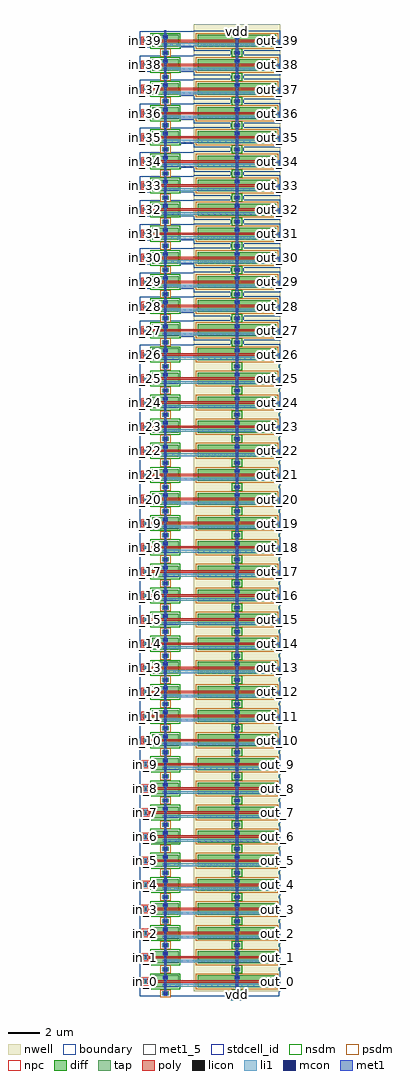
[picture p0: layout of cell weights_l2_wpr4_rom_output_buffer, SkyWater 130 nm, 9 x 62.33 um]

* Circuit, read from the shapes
.subckt weights_l2_wpr4_rom_output_buffer gnd in_0 in_1 in_10 in_11 in_12 in_13 in_14 in_15 in_16 in_17 in_18 in_19 in_2 in_20 in_21 in_22 in_23 in_24 in_25 in_26 in_27 in_28 in_29 in_3 in_30 in_31 in_32 in_33 in_34 in_35 in_36 in_37 in_38 in_39 in_4 in_5 in_6 in_7 in_8 in_9 out_0 out_1 out_10 out_11 out_12 out_13 out_14 out_15 out_16 out_17 out_18 out_19 out_2 out_20 out_21 out_22 out_23 out_24 out_25 out_26 out_27 out_28 out_29 out_3 out_30 out_31 out_32 out_33 out_34 out_35 out_36 out_37 out_38 out_39 out_4 out_5 out_6 out_7 out_8 out_9 vdd
XM1 gnd in_0 out_0 gnd sky130_fd_pr__nfet_01v8 w=1.68 l=0.15
XM2 gnd in_1 out_1 gnd sky130_fd_pr__nfet_01v8 w=1.68 l=0.15
XM3 gnd in_2 out_2 gnd sky130_fd_pr__nfet_01v8 w=1.68 l=0.15
XM4 gnd in_3 out_3 gnd sky130_fd_pr__nfet_01v8 w=1.68 l=0.15
XM5 gnd in_4 out_4 gnd sky130_fd_pr__nfet_01v8 w=1.68 l=0.15
XM6 gnd in_5 out_5 gnd sky130_fd_pr__nfet_01v8 w=1.68 l=0.15
XM7 gnd in_6 out_6 gnd sky130_fd_pr__nfet_01v8 w=1.68 l=0.15
XM8 gnd in_7 out_7 gnd sky130_fd_pr__nfet_01v8 w=1.68 l=0.15
XM9 gnd in_8 out_8 gnd sky130_fd_pr__nfet_01v8 w=1.68 l=0.15
XM10 gnd in_9 out_9 gnd sky130_fd_pr__nfet_01v8 w=1.68 l=0.15
XM11 gnd in_10 out_10 gnd sky130_fd_pr__nfet_01v8 w=1.68 l=0.15
XM12 gnd in_11 out_11 gnd sky130_fd_pr__nfet_01v8 w=1.68 l=0.15
XM13 gnd in_12 out_12 gnd sky130_fd_pr__nfet_01v8 w=1.68 l=0.15
XM14 gnd in_13 out_13 gnd sky130_fd_pr__nfet_01v8 w=1.68 l=0.15
XM15 gnd in_14 out_14 gnd sky130_fd_pr__nfet_01v8 w=1.68 l=0.15
XM16 gnd in_15 out_15 gnd sky130_fd_pr__nfet_01v8 w=1.68 l=0.15
XM17 gnd in_16 out_16 gnd sky130_fd_pr__nfet_01v8 w=1.68 l=0.15
XM18 gnd in_17 out_17 gnd sky130_fd_pr__nfet_01v8 w=1.68 l=0.15
XM19 gnd in_18 out_18 gnd sky130_fd_pr__nfet_01v8 w=1.68 l=0.15
XM20 gnd in_19 out_19 gnd sky130_fd_pr__nfet_01v8 w=1.68 l=0.15
XM21 gnd in_20 out_20 gnd sky130_fd_pr__nfet_01v8 w=1.68 l=0.15
XM22 gnd in_21 out_21 gnd sky130_fd_pr__nfet_01v8 w=1.68 l=0.15
XM23 gnd in_22 out_22 gnd sky130_fd_pr__nfet_01v8 w=1.68 l=0.15
XM24 gnd in_23 out_23 gnd sky130_fd_pr__nfet_01v8 w=1.68 l=0.15
XM25 gnd in_24 out_24 gnd sky130_fd_pr__nfet_01v8 w=1.68 l=0.15
XM26 gnd in_25 out_25 gnd sky130_fd_pr__nfet_01v8 w=1.68 l=0.15
XM27 gnd in_26 out_26 gnd sky130_fd_pr__nfet_01v8 w=1.68 l=0.15
XM28 gnd in_27 out_27 gnd sky130_fd_pr__nfet_01v8 w=1.68 l=0.15
XM29 gnd in_28 out_28 gnd sky130_fd_pr__nfet_01v8 w=1.68 l=0.15
XM30 gnd in_29 out_29 gnd sky130_fd_pr__nfet_01v8 w=1.68 l=0.15
XM31 gnd in_30 out_30 gnd sky130_fd_pr__nfet_01v8 w=1.68 l=0.15
XM32 gnd in_31 out_31 gnd sky130_fd_pr__nfet_01v8 w=1.68 l=0.15
XM33 gnd in_32 out_32 gnd sky130_fd_pr__nfet_01v8 w=1.68 l=0.15
XM34 gnd in_33 out_33 gnd sky130_fd_pr__nfet_01v8 w=1.68 l=0.15
XM35 gnd in_34 out_34 gnd sky130_fd_pr__nfet_01v8 w=1.68 l=0.15
XM36 gnd in_35 out_35 gnd sky130_fd_pr__nfet_01v8 w=1.68 l=0.15
XM37 gnd in_36 out_36 gnd sky130_fd_pr__nfet_01v8 w=1.68 l=0.15
XM38 gnd in_37 out_37 gnd sky130_fd_pr__nfet_01v8 w=1.68 l=0.15
XM39 gnd in_38 out_38 gnd sky130_fd_pr__nfet_01v8 w=1.68 l=0.15
XM40 gnd in_39 out_39 gnd sky130_fd_pr__nfet_01v8 w=1.68 l=0.15
XM41 vdd in_0 out_0 vdd sky130_fd_pr__pfet_01v8 w=5 l=0.15
XM42 vdd in_1 out_1 vdd sky130_fd_pr__pfet_01v8 w=5 l=0.15
XM43 vdd in_2 out_2 vdd sky130_fd_pr__pfet_01v8 w=5 l=0.15
XM44 vdd in_3 out_3 vdd sky130_fd_pr__pfet_01v8 w=5 l=0.15
XM45 vdd in_4 out_4 vdd sky130_fd_pr__pfet_01v8 w=5 l=0.15
XM46 vdd in_5 out_5 vdd sky130_fd_pr__pfet_01v8 w=5 l=0.15
XM47 vdd in_6 out_6 vdd sky130_fd_pr__pfet_01v8 w=5 l=0.15
XM48 vdd in_7 out_7 vdd sky130_fd_pr__pfet_01v8 w=5 l=0.15
XM49 vdd in_8 out_8 vdd sky130_fd_pr__pfet_01v8 w=5 l=0.15
XM50 vdd in_9 out_9 vdd sky130_fd_pr__pfet_01v8 w=5 l=0.15
XM51 vdd in_10 out_10 vdd sky130_fd_pr__pfet_01v8 w=5 l=0.15
XM52 vdd in_11 out_11 vdd sky130_fd_pr__pfet_01v8 w=5 l=0.15
XM53 vdd in_12 out_12 vdd sky130_fd_pr__pfet_01v8 w=5 l=0.15
XM54 vdd in_13 out_13 vdd sky130_fd_pr__pfet_01v8 w=5 l=0.15
XM55 vdd in_14 out_14 vdd sky130_fd_pr__pfet_01v8 w=5 l=0.15
XM56 vdd in_15 out_15 vdd sky130_fd_pr__pfet_01v8 w=5 l=0.15
XM57 vdd in_16 out_16 vdd sky130_fd_pr__pfet_01v8 w=5 l=0.15
XM58 vdd in_17 out_17 vdd sky130_fd_pr__pfet_01v8 w=5 l=0.15
XM59 vdd in_18 out_18 vdd sky130_fd_pr__pfet_01v8 w=5 l=0.15
XM60 vdd in_19 out_19 vdd sky130_fd_pr__pfet_01v8 w=5 l=0.15
XM61 vdd in_20 out_20 vdd sky130_fd_pr__pfet_01v8 w=5 l=0.15
XM62 vdd in_21 out_21 vdd sky130_fd_pr__pfet_01v8 w=5 l=0.15
XM63 vdd in_22 out_22 vdd sky130_fd_pr__pfet_01v8 w=5 l=0.15
XM64 vdd in_23 out_23 vdd sky130_fd_pr__pfet_01v8 w=5 l=0.15
XM65 vdd in_24 out_24 vdd sky130_fd_pr__pfet_01v8 w=5 l=0.15
XM66 vdd in_25 out_25 vdd sky130_fd_pr__pfet_01v8 w=5 l=0.15
XM67 vdd in_26 out_26 vdd sky130_fd_pr__pfet_01v8 w=5 l=0.15
XM68 vdd in_27 out_27 vdd sky130_fd_pr__pfet_01v8 w=5 l=0.15
XM69 vdd in_28 out_28 vdd sky130_fd_pr__pfet_01v8 w=5 l=0.15
XM70 vdd in_29 out_29 vdd sky130_fd_pr__pfet_01v8 w=5 l=0.15
XM71 vdd in_30 out_30 vdd sky130_fd_pr__pfet_01v8 w=5 l=0.15
XM72 vdd in_31 out_31 vdd sky130_fd_pr__pfet_01v8 w=5 l=0.15
XM73 vdd in_32 out_32 vdd sky130_fd_pr__pfet_01v8 w=5 l=0.15
XM74 vdd in_33 out_33 vdd sky130_fd_pr__pfet_01v8 w=5 l=0.15
XM75 vdd in_34 out_34 vdd sky130_fd_pr__pfet_01v8 w=5 l=0.15
XM76 vdd in_35 out_35 vdd sky130_fd_pr__pfet_01v8 w=5 l=0.15
XM77 vdd in_36 out_36 vdd sky130_fd_pr__pfet_01v8 w=5 l=0.15
XM78 vdd in_37 out_37 vdd sky130_fd_pr__pfet_01v8 w=5 l=0.15
XM79 vdd in_38 out_38 vdd sky130_fd_pr__pfet_01v8 w=5 l=0.15
XM80 vdd in_39 out_39 vdd sky130_fd_pr__pfet_01v8 w=5 l=0.15
.ends

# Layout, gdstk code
from math import pi, radians
import gdstk
lib = gdstk.Library(unit=1e-6, precision=1e-09)
def R(c, l, rs):  # rectangles x0, y0, x1, y1
    for r in rs: c.add(gdstk.rectangle(r[:2], r[2:], *l))
def A(c, l, x, y, w, h, nx, ny, dx, dy):  # array of equal rectangles
    R(c, l, [(x+i*dx, y+j*dy, x+i*dx+w, y+j*dy+h) for i in range(nx) for j in range(ny)])
nwell = (64, 20)
diff = (65, 20)
tap = (65, 44)
poly = (66, 20)
licon = (66, 44)
li1 = (67, 20)
mcon = (67, 44)
met1_5 = (68, 5)
met1 = (68, 20)
stdcell_id = (81, 4)
nsdm = (93, 44)
psdm = (94, 20)
npc = (95, 20)
boundary = (235, 4)

weights_l2_wpr4_contact_ = lib.new_cell('weights_l2_wpr4_contact_10')
R(weights_l2_wpr4_contact_, nwell, [(-0.295,-0.255,0.545,0.585)])
R(weights_l2_wpr4_contact_, diff, [(0,0.02,0.25,0.31)])
R(weights_l2_wpr4_contact_, licon, [(0.04,0.08,0.21,0.25)])
R(weights_l2_wpr4_contact_, li1, [(0.04,0,0.21,0.33)])
R(weights_l2_wpr4_contact_, stdcell_id, [(-0.295,-0.255,0.545,0.585)])
R(weights_l2_wpr4_contact_, psdm, [(-0.125,-0.105,0.375,0.435)])
R(weights_l2_wpr4_contact_, boundary, [(-0.295,-0.255,0.545,0.585)])

weights_l2_wpr4_pmos_m1_ = lib.new_cell('weights_l2_wpr4_pmos_m1_w5_000_sli_dli_da_p')
R(weights_l2_wpr4_pmos_m1_, nwell, [(-0.27,-0.27,1.02,5.27)])
R(weights_l2_wpr4_pmos_m1_, diff, [(0,0,0.75,5)])
R(weights_l2_wpr4_pmos_m1_, poly, [(0.3,-0.13,0.45,5.13), (0.3,-0.13,0.45,5.13)])
R(weights_l2_wpr4_pmos_m1_, li1, [(0.04,2.335,0.21,2.665), (0.54,2.335,0.71,2.665)])
R(weights_l2_wpr4_pmos_m1_, stdcell_id, [(-0.27,-0.27,1.02,5.27)])
R(weights_l2_wpr4_pmos_m1_, psdm, [(-0.125,-0.125,0.875,5.125)])
R(weights_l2_wpr4_pmos_m1_, boundary, [(-0.27,-0.27,1.02,5.27)])
weights_l2_wpr4_pmos_m1_.add(gdstk.Reference(weights_l2_wpr4_contact_, (0,2.335)))
weights_l2_wpr4_pmos_m1_.add(gdstk.Reference(weights_l2_wpr4_contact_, (0.5,2.335)))
weights_l2_wpr4_pmos_m1_.add(gdstk.Label('G', (0.375,2.5), layer=66, texttype=5))
weights_l2_wpr4_pmos_m1_.add(gdstk.Label('S', (0.125,2.5), layer=67, texttype=5))
weights_l2_wpr4_pmos_m1_.add(gdstk.Label('D', (0.625,2.5), layer=67, texttype=5))

c_weights_l2_wpr4_contact_ = lib.new_cell('weights_l2_wpr4_contact_8')
R(c_weights_l2_wpr4_contact_, diff, [(0,0.02,0.25,0.31)])
R(c_weights_l2_wpr4_contact_, licon, [(0.04,0.08,0.21,0.25)])
R(c_weights_l2_wpr4_contact_, li1, [(0.04,0,0.21,0.33)])
R(c_weights_l2_wpr4_contact_, stdcell_id, [(-0.125,-0.105,0.375,0.435)])
R(c_weights_l2_wpr4_contact_, nsdm, [(-0.125,-0.105,0.375,0.435)])
R(c_weights_l2_wpr4_contact_, boundary, [(-0.125,-0.105,0.375,0.435)])

weights_l2_wpr4_nmos_m1_ = lib.new_cell('weights_l2_wpr4_nmos_m1_w1_680_sli_dli_da_p')
R(weights_l2_wpr4_nmos_m1_, diff, [(0,0,0.75,1.68)])
R(weights_l2_wpr4_nmos_m1_, poly, [(0.3,-0.13,0.45,1.81), (0.3,-0.13,0.45,1.81)])
R(weights_l2_wpr4_nmos_m1_, li1, [(0.04,0.675,0.21,1.005), (0.54,0.675,0.71,1.005)])
R(weights_l2_wpr4_nmos_m1_, stdcell_id, [(-0.125,-0.13,0.875,1.81)])
R(weights_l2_wpr4_nmos_m1_, nsdm, [(-0.125,-0.125,0.875,1.805)])
R(weights_l2_wpr4_nmos_m1_, boundary, [(-0.125,-0.13,0.875,1.81)])
weights_l2_wpr4_nmos_m1_.add(gdstk.Reference(c_weights_l2_wpr4_contact_, (0,0.675)))
weights_l2_wpr4_nmos_m1_.add(gdstk.Reference(c_weights_l2_wpr4_contact_, (0.5,0.675)))
weights_l2_wpr4_nmos_m1_.add(gdstk.Label('G', (0.375,0.84), layer=66, texttype=5))
weights_l2_wpr4_nmos_m1_.add(gdstk.Label('S', (0.125,0.84), layer=67, texttype=5))
weights_l2_wpr4_nmos_m1_.add(gdstk.Label('D', (0.625,0.84), layer=67, texttype=5))

c_weights_l2_wpr4_contact__ = lib.new_cell('weights_l2_wpr4_contact_11')
R(c_weights_l2_wpr4_contact__, poly, [(0,0,0.33,0.33)])
R(c_weights_l2_wpr4_contact__, licon, [(0.08,0.08,0.25,0.25)])
R(c_weights_l2_wpr4_contact__, li1, [(0.08,0,0.25,0.33)])
R(c_weights_l2_wpr4_contact__, stdcell_id, [(-0.1,-0.1,0.43,0.43)])
R(c_weights_l2_wpr4_contact__, npc, [(-0.1,-0.1,0.43,0.43)])
R(c_weights_l2_wpr4_contact__, boundary, [(-0.1,-0.1,0.43,0.43)])

c_weights_l2_wpr4_contact___ = lib.new_cell('weights_l2_wpr4_contact_12')
R(c_weights_l2_wpr4_contact___, li1, [(0.06,0,0.23,0.33)])
R(c_weights_l2_wpr4_contact___, mcon, [(0.06,0.08,0.23,0.25)])
R(c_weights_l2_wpr4_contact___, met1, [(0,0.05,0.29,0.28)])
R(c_weights_l2_wpr4_contact___, stdcell_id, [(0,0,0.29,0.33)])
R(c_weights_l2_wpr4_contact___, boundary, [(0,0,0.29,0.33)])

weights_l2_wpr4_pinv_dec = lib.new_cell('weights_l2_wpr4_pinv_dec_4')
R(weights_l2_wpr4_pinv_dec, nwell, [(3.46,0,9,1.495)])
R(weights_l2_wpr4_pinv_dec, poly, [(0.385,0.345,0.68,0.495), (2.62,0.345,3.6,0.495)])
R(weights_l2_wpr4_pinv_dec, li1, [(1.485,0.085,8.91,0.255), (0.3,0.255,0.47,0.585)])
R(weights_l2_wpr4_pinv_dec, met1_5, [(1.58,0,1.72,1.02), (6.16,0,6.3,1.02)])
R(weights_l2_wpr4_pinv_dec, met1, [(1.58,0,1.72,1.02), (6.16,0,6.3,1.02)])
R(weights_l2_wpr4_pinv_dec, stdcell_id, [(0,0,8.91,1.02), (0,0,8.91,1.02)])
R(weights_l2_wpr4_pinv_dec, nsdm, [(0.685,0,2.615,0.795)])
R(weights_l2_wpr4_pinv_dec, psdm, [(3.605,0,8.855,0.795)])
R(weights_l2_wpr4_pinv_dec, boundary, [(0,0,8.91,1.02), (0,0,8.91,1.02)])
weights_l2_wpr4_pinv_dec.add(gdstk.Reference(weights_l2_wpr4_pmos_m1_, (3.73,0.795), rotation=3*pi/2))
weights_l2_wpr4_pinv_dec.add(gdstk.Reference(weights_l2_wpr4_nmos_m1_, (0.81,0.795), rotation=3*pi/2))
weights_l2_wpr4_pinv_dec.add(gdstk.Reference(c_weights_l2_wpr4_contact__, (0.22,0.255)))
weights_l2_wpr4_pinv_dec.add(gdstk.Reference(c_weights_l2_wpr4_contact___, (1.505,0.505)))
weights_l2_wpr4_pinv_dec.add(gdstk.Reference(c_weights_l2_wpr4_contact___, (6.085,0.505)))
weights_l2_wpr4_pinv_dec.add(gdstk.Label('A', (0.385,0.42), layer=67, texttype=5))
weights_l2_wpr4_pinv_dec.add(gdstk.Label('Z', (5.198,0.17), layer=67, texttype=5))
weights_l2_wpr4_pinv_dec.add(gdstk.Label('gnd', (1.65,0.51), layer=68, texttype=5))
weights_l2_wpr4_pinv_dec.add(gdstk.Label('vdd', (6.23,0.51), layer=68, texttype=5))

c_weights_l2_wpr4_contact____ = lib.new_cell('weights_l2_wpr4_contact_15')
R(c_weights_l2_wpr4_contact____, nwell, [(-0.215,-0.295,0.625,0.545)])
R(c_weights_l2_wpr4_contact____, tap, [(0,0,0.41,0.25)])
R(c_weights_l2_wpr4_contact____, licon, [(0.12,0.04,0.29,0.21)])
R(c_weights_l2_wpr4_contact____, li1, [(0.04,0.04,0.37,0.21)])
R(c_weights_l2_wpr4_contact____, stdcell_id, [(-0.215,-0.295,0.625,0.545)])
R(c_weights_l2_wpr4_contact____, nsdm, [(-0.125,-0.125,0.535,0.375)])
R(c_weights_l2_wpr4_contact____, boundary, [(-0.215,-0.295,0.625,0.545)])

c_weights_l2_wpr4_contact_____ = lib.new_cell('weights_l2_wpr4_contact_17')
R(c_weights_l2_wpr4_contact_____, li1, [(0,0.06,0.33,0.23)])
R(c_weights_l2_wpr4_contact_____, mcon, [(0.08,0.06,0.25,0.23)])
R(c_weights_l2_wpr4_contact_____, met1, [(0.05,0,0.28,0.29)])
R(c_weights_l2_wpr4_contact_____, stdcell_id, [(0,0,0.33,0.29)])
R(c_weights_l2_wpr4_contact_____, boundary, [(0,0,0.33,0.29)])

c_weights_l2_wpr4_contact______ = lib.new_cell('weights_l2_wpr4_contact_16')
R(c_weights_l2_wpr4_contact______, tap, [(0,0,0.41,0.25)])
R(c_weights_l2_wpr4_contact______, licon, [(0.12,0.04,0.29,0.21)])
R(c_weights_l2_wpr4_contact______, li1, [(0.04,0.04,0.37,0.21)])
R(c_weights_l2_wpr4_contact______, stdcell_id, [(-0.125,-0.125,0.535,0.375)])
R(c_weights_l2_wpr4_contact______, psdm, [(-0.125,-0.125,0.535,0.375)])
R(c_weights_l2_wpr4_contact______, boundary, [(-0.125,-0.125,0.535,0.375)])

weights_l2_wpr4_rom_outp = lib.new_cell('weights_l2_wpr4_rom_output_buffer')
A(weights_l2_wpr4_rom_outp, li1, 8.74, 0.69, 0.17, 0.335, 1, 40, 0, 1.54)
A(weights_l2_wpr4_rom_outp, li1, 0.3, 0.775, 0.17, 0.33, 1, 40, 0, 1.54)
A(weights_l2_wpr4_rom_outp, li1, 8.74, 0.855, 0.17, 0.17, 1, 40, 0, 1.54)
R(weights_l2_wpr4_rom_outp, met1_5, [(1.58,0.03,1.72,0.17), (6.16,0.03,6.3,0.17), (1.58,61.53,1.72,61.67), (6.16,61.53,6.3,61.67)])
R(weights_l2_wpr4_rom_outp, met1, [(1.58,0.03,1.72,0.17), (1.58,0.03,1.72,61.67), (6.16,0.03,6.3,0.17), (6.16,0.03,6.3,61.67), (1.58,0.1,1.72,0.24), (6.16,0.1,6.3,0.24), (1.58,0.96,1.72,1.1), (6.16,0.96,6.3,1.1), (1.58,1.64,1.72,1.78), (6.16,1.64,6.3,1.78), (1.58,2.5,1.72,2.64), (6.16,2.5,6.3,2.64), (1.58,3.18,1.72,3.32), (6.16,3.18,6.3,3.32), (1.58,4.04,1.72,4.18), (6.16,4.04,6.3,4.18), (1.58,4.72,1.72,4.86), (6.16,4.72,6.3,4.86), (1.58,5.58,1.72,5.72), (6.16,5.58,6.3,5.72), (1.58,6.26,1.72,6.4), (6.16,6.26,6.3,6.4), (1.58,7.12,1.72,7.26), (6.16,7.12,6.3,7.26), (1.58,7.8,1.72,7.94), (6.16,7.8,6.3,7.94), (1.58,8.66,1.72,8.8), (6.16,8.66,6.3,8.8), (1.58,9.34,1.72,9.48), (6.16,9.34,6.3,9.48), (1.58,10.2,1.72,10.34), (6.16,10.2,6.3,10.34), (1.58,10.88,1.72,11.02), (6.16,10.88,6.3,11.02), (1.58,11.74,1.72,11.88), (6.16,11.74,6.3,11.88), (1.58,12.42,1.72,12.56), (6.16,12.42,6.3,12.56), (1.58,13.28,1.72,13.42), (6.16,13.28,6.3,13.42), (1.58,13.96,1.72,14.1), (6.16,13.96,6.3,14.1), (1.58,14.82,1.72,14.96), (6.16,14.82,6.3,14.96), (1.58,15.5,1.72,15.64), (6.16,15.5,6.3,15.64), (1.58,16.36,1.72,16.5), (6.16,16.36,6.3,16.5), (1.58,17.04,1.72,17.18), (6.16,17.04,6.3,17.18), (1.58,17.9,1.72,18.04), (6.16,17.9,6.3,18.04), (1.58,18.58,1.72,18.72), (6.16,18.58,6.3,18.72), (1.58,19.44,1.72,19.58), (6.16,19.44,6.3,19.58), (1.58,20.12,1.72,20.26), (6.16,20.12,6.3,20.26), (1.58,20.98,1.72,21.12), (6.16,20.98,6.3,21.12), (1.58,21.66,1.72,21.8), (6.16,21.66,6.3,21.8), (1.58,22.52,1.72,22.66), (6.16,22.52,6.3,22.66), (1.58,23.2,1.72,23.34), (6.16,23.2,6.3,23.34), (1.58,24.06,1.72,24.2), (6.16,24.06,6.3,24.2), (1.58,24.74,1.72,24.88), (6.16,24.74,6.3,24.88), (1.58,25.6,1.72,25.74), (6.16,25.6,6.3,25.74), (1.58,26.28,1.72,26.42), (6.16,26.28,6.3,26.42), (1.58,27.14,1.72,27.28), (6.16,27.14,6.3,27.28), (1.58,27.82,1.72,27.96), (6.16,27.82,6.3,27.96), (1.58,28.68,1.72,28.82), (6.16,28.68,6.3,28.82), (1.58,29.36,1.72,29.5), (6.16,29.36,6.3,29.5), (1.58,30.22,1.72,30.36), (6.16,30.22,6.3,30.36), (1.58,30.9,1.72,31.04), (6.16,30.9,6.3,31.04), (1.58,31.76,1.72,31.9), (6.16,31.76,6.3,31.9), (1.58,32.44,1.72,32.58), (6.16,32.44,6.3,32.58), (1.58,33.3,1.72,33.44), (6.16,33.3,6.3,33.44), (1.58,33.98,1.72,34.12), (6.16,33.98,6.3,34.12), (1.58,34.84,1.72,34.98), (6.16,34.84,6.3,34.98), (1.58,35.52,1.72,35.66), (6.16,35.52,6.3,35.66), (1.58,36.38,1.72,36.52), (6.16,36.38,6.3,36.52), (1.58,37.06,1.72,37.2), (6.16,37.06,6.3,37.2), (1.58,37.92,1.72,38.06), (6.16,37.92,6.3,38.06), (1.58,38.6,1.72,38.74), (6.16,38.6,6.3,38.74), (1.58,39.46,1.72,39.6), (6.16,39.46,6.3,39.6), (1.58,40.14,1.72,40.28), (6.16,40.14,6.3,40.28), (1.58,41,1.72,41.14), (6.16,41,6.3,41.14), (1.58,41.68,1.72,41.82), (6.16,41.68,6.3,41.82), (1.58,42.54,1.72,42.68), (6.16,42.54,6.3,42.68), (1.58,43.22,1.72,43.36), (6.16,43.22,6.3,43.36), (1.58,44.08,1.72,44.22), (6.16,44.08,6.3,44.22), (1.58,44.76,1.72,44.9), (6.16,44.76,6.3,44.9), (1.58,45.62,1.72,45.76), (6.16,45.62,6.3,45.76), (1.58,46.3,1.72,46.44), (6.16,46.3,6.3,46.44), (1.58,47.16,1.72,47.3), (6.16,47.16,6.3,47.3), (1.58,47.84,1.72,47.98), (6.16,47.84,6.3,47.98), (1.58,48.7,1.72,48.84), (6.16,48.7,6.3,48.84), (1.58,49.38,1.72,49.52), (6.16,49.38,6.3,49.52), (1.58,50.24,1.72,50.38), (6.16,50.24,6.3,50.38), (1.58,50.92,1.72,51.06), (6.16,50.92,6.3,51.06), (1.58,51.78,1.72,51.92), (6.16,51.78,6.3,51.92), (1.58,52.46,1.72,52.6), (6.16,52.46,6.3,52.6), (1.58,53.32,1.72,53.46), (6.16,53.32,6.3,53.46), (1.58,54,1.72,54.14), (6.16,54,6.3,54.14), (1.58,54.86,1.72,55), (6.16,54.86,6.3,55), (1.58,55.54,1.72,55.68), (6.16,55.54,6.3,55.68), (1.58,56.4,1.72,56.54), (6.16,56.4,6.3,56.54), (1.58,57.08,1.72,57.22), (6.16,57.08,6.3,57.22), (1.58,57.94,1.72,58.08), (6.16,57.94,6.3,58.08), (1.58,58.62,1.72,58.76), (6.16,58.62,6.3,58.76), (1.58,59.48,1.72,59.62), (6.16,59.48,6.3,59.62), (1.58,60.16,1.72,60.3), (6.16,60.16,6.3,60.3), (1.58,61.02,1.72,61.16), (6.16,61.02,6.3,61.16), (1.58,61.53,1.72,61.67), (6.16,61.53,6.3,61.67)])
R(weights_l2_wpr4_rom_outp, stdcell_id, [(0,0,8.91,40.8)])
R(weights_l2_wpr4_rom_outp, boundary, [(0,0,8.91,40.8)])
weights_l2_wpr4_rom_outp.add(gdstk.Reference(weights_l2_wpr4_pinv_dec, (0,0.52)))
weights_l2_wpr4_rom_outp.add(gdstk.Reference(weights_l2_wpr4_pinv_dec, (0,2.06)))
weights_l2_wpr4_rom_outp.add(gdstk.Reference(weights_l2_wpr4_pinv_dec, (0,3.6)))
weights_l2_wpr4_rom_outp.add(gdstk.Reference(weights_l2_wpr4_pinv_dec, (0,5.14)))
weights_l2_wpr4_rom_outp.add(gdstk.Reference(weights_l2_wpr4_pinv_dec, (0,6.68)))
weights_l2_wpr4_rom_outp.add(gdstk.Reference(weights_l2_wpr4_pinv_dec, (0,8.22)))
weights_l2_wpr4_rom_outp.add(gdstk.Reference(weights_l2_wpr4_pinv_dec, (0,9.76)))
weights_l2_wpr4_rom_outp.add(gdstk.Reference(weights_l2_wpr4_pinv_dec, (0,11.3)))
weights_l2_wpr4_rom_outp.add(gdstk.Reference(weights_l2_wpr4_pinv_dec, (0,12.84)))
weights_l2_wpr4_rom_outp.add(gdstk.Reference(weights_l2_wpr4_pinv_dec, (0,14.38)))
weights_l2_wpr4_rom_outp.add(gdstk.Reference(weights_l2_wpr4_pinv_dec, (0,15.92)))
weights_l2_wpr4_rom_outp.add(gdstk.Reference(weights_l2_wpr4_pinv_dec, (0,17.46)))
weights_l2_wpr4_rom_outp.add(gdstk.Reference(weights_l2_wpr4_pinv_dec, (0,19)))
weights_l2_wpr4_rom_outp.add(gdstk.Reference(weights_l2_wpr4_pinv_dec, (0,20.54)))
weights_l2_wpr4_rom_outp.add(gdstk.Reference(weights_l2_wpr4_pinv_dec, (0,22.08)))
weights_l2_wpr4_rom_outp.add(gdstk.Reference(weights_l2_wpr4_pinv_dec, (0,23.62)))
weights_l2_wpr4_rom_outp.add(gdstk.Reference(weights_l2_wpr4_pinv_dec, (0,25.16)))
weights_l2_wpr4_rom_outp.add(gdstk.Reference(weights_l2_wpr4_pinv_dec, (0,26.7)))
weights_l2_wpr4_rom_outp.add(gdstk.Reference(weights_l2_wpr4_pinv_dec, (0,28.24)))
weights_l2_wpr4_rom_outp.add(gdstk.Reference(weights_l2_wpr4_pinv_dec, (0,29.78)))
weights_l2_wpr4_rom_outp.add(gdstk.Reference(weights_l2_wpr4_pinv_dec, (0,31.32)))
weights_l2_wpr4_rom_outp.add(gdstk.Reference(weights_l2_wpr4_pinv_dec, (0,32.86)))
weights_l2_wpr4_rom_outp.add(gdstk.Reference(weights_l2_wpr4_pinv_dec, (0,34.4)))
weights_l2_wpr4_rom_outp.add(gdstk.Reference(weights_l2_wpr4_pinv_dec, (0,35.94)))
weights_l2_wpr4_rom_outp.add(gdstk.Reference(weights_l2_wpr4_pinv_dec, (0,37.48)))
weights_l2_wpr4_rom_outp.add(gdstk.Reference(weights_l2_wpr4_pinv_dec, (0,39.02)))
weights_l2_wpr4_rom_outp.add(gdstk.Reference(weights_l2_wpr4_pinv_dec, (0,40.56)))
weights_l2_wpr4_rom_outp.add(gdstk.Reference(weights_l2_wpr4_pinv_dec, (0,42.1)))
weights_l2_wpr4_rom_outp.add(gdstk.Reference(weights_l2_wpr4_pinv_dec, (0,43.64)))
weights_l2_wpr4_rom_outp.add(gdstk.Reference(weights_l2_wpr4_pinv_dec, (0,45.18)))
weights_l2_wpr4_rom_outp.add(gdstk.Reference(weights_l2_wpr4_pinv_dec, (0,46.72)))
weights_l2_wpr4_rom_outp.add(gdstk.Reference(weights_l2_wpr4_pinv_dec, (0,48.26)))
weights_l2_wpr4_rom_outp.add(gdstk.Reference(weights_l2_wpr4_pinv_dec, (0,49.8)))
weights_l2_wpr4_rom_outp.add(gdstk.Reference(weights_l2_wpr4_pinv_dec, (0,51.34)))
weights_l2_wpr4_rom_outp.add(gdstk.Reference(weights_l2_wpr4_pinv_dec, (0,52.88)))
weights_l2_wpr4_rom_outp.add(gdstk.Reference(weights_l2_wpr4_pinv_dec, (0,54.42)))
weights_l2_wpr4_rom_outp.add(gdstk.Reference(weights_l2_wpr4_pinv_dec, (0,55.96)))
weights_l2_wpr4_rom_outp.add(gdstk.Reference(weights_l2_wpr4_pinv_dec, (0,57.5)))
weights_l2_wpr4_rom_outp.add(gdstk.Reference(weights_l2_wpr4_pinv_dec, (0,59.04)))
weights_l2_wpr4_rom_outp.add(gdstk.Reference(weights_l2_wpr4_pinv_dec, (0,60.58)))
weights_l2_wpr4_rom_outp.add(gdstk.Reference(c_weights_l2_wpr4_contact____, (6.025,0.045)))
weights_l2_wpr4_rom_outp.add(gdstk.Reference(c_weights_l2_wpr4_contact_____, (6.065,0.025)))
weights_l2_wpr4_rom_outp.add(gdstk.Reference(c_weights_l2_wpr4_contact______, (1.445,0.045)))
weights_l2_wpr4_rom_outp.add(gdstk.Reference(c_weights_l2_wpr4_contact_____, (1.485,0.025)))
weights_l2_wpr4_rom_outp.add(gdstk.Reference(c_weights_l2_wpr4_contact____, (6.025,1.585)))
weights_l2_wpr4_rom_outp.add(gdstk.Reference(c_weights_l2_wpr4_contact_____, (6.065,1.565)))
weights_l2_wpr4_rom_outp.add(gdstk.Reference(c_weights_l2_wpr4_contact______, (1.445,1.585)))
weights_l2_wpr4_rom_outp.add(gdstk.Reference(c_weights_l2_wpr4_contact_____, (1.485,1.565)))
weights_l2_wpr4_rom_outp.add(gdstk.Reference(c_weights_l2_wpr4_contact____, (6.025,3.125)))
weights_l2_wpr4_rom_outp.add(gdstk.Reference(c_weights_l2_wpr4_contact_____, (6.065,3.105)))
weights_l2_wpr4_rom_outp.add(gdstk.Reference(c_weights_l2_wpr4_contact______, (1.445,3.125)))
weights_l2_wpr4_rom_outp.add(gdstk.Reference(c_weights_l2_wpr4_contact_____, (1.485,3.105)))
weights_l2_wpr4_rom_outp.add(gdstk.Reference(c_weights_l2_wpr4_contact____, (6.025,4.665)))
weights_l2_wpr4_rom_outp.add(gdstk.Reference(c_weights_l2_wpr4_contact_____, (6.065,4.645)))
weights_l2_wpr4_rom_outp.add(gdstk.Reference(c_weights_l2_wpr4_contact______, (1.445,4.665)))
weights_l2_wpr4_rom_outp.add(gdstk.Reference(c_weights_l2_wpr4_contact_____, (1.485,4.645)))
weights_l2_wpr4_rom_outp.add(gdstk.Reference(c_weights_l2_wpr4_contact____, (6.025,6.205)))
weights_l2_wpr4_rom_outp.add(gdstk.Reference(c_weights_l2_wpr4_contact_____, (6.065,6.185)))
weights_l2_wpr4_rom_outp.add(gdstk.Reference(c_weights_l2_wpr4_contact______, (1.445,6.205)))
weights_l2_wpr4_rom_outp.add(gdstk.Reference(c_weights_l2_wpr4_contact_____, (1.485,6.185)))
weights_l2_wpr4_rom_outp.add(gdstk.Reference(c_weights_l2_wpr4_contact____, (6.025,7.745)))
weights_l2_wpr4_rom_outp.add(gdstk.Reference(c_weights_l2_wpr4_contact_____, (6.065,7.725)))
weights_l2_wpr4_rom_outp.add(gdstk.Reference(c_weights_l2_wpr4_contact______, (1.445,7.745)))
weights_l2_wpr4_rom_outp.add(gdstk.Reference(c_weights_l2_wpr4_contact_____, (1.485,7.725)))
weights_l2_wpr4_rom_outp.add(gdstk.Reference(c_weights_l2_wpr4_contact____, (6.025,9.285)))
weights_l2_wpr4_rom_outp.add(gdstk.Reference(c_weights_l2_wpr4_contact_____, (6.065,9.265)))
weights_l2_wpr4_rom_outp.add(gdstk.Reference(c_weights_l2_wpr4_contact______, (1.445,9.285)))
weights_l2_wpr4_rom_outp.add(gdstk.Reference(c_weights_l2_wpr4_contact_____, (1.485,9.265)))
weights_l2_wpr4_rom_outp.add(gdstk.Reference(c_weights_l2_wpr4_contact____, (6.025,10.825)))
weights_l2_wpr4_rom_outp.add(gdstk.Reference(c_weights_l2_wpr4_contact_____, (6.065,10.805)))
weights_l2_wpr4_rom_outp.add(gdstk.Reference(c_weights_l2_wpr4_contact______, (1.445,10.825)))
weights_l2_wpr4_rom_outp.add(gdstk.Reference(c_weights_l2_wpr4_contact_____, (1.485,10.805)))
weights_l2_wpr4_rom_outp.add(gdstk.Reference(c_weights_l2_wpr4_contact____, (6.025,12.365)))
weights_l2_wpr4_rom_outp.add(gdstk.Reference(c_weights_l2_wpr4_contact_____, (6.065,12.345)))
weights_l2_wpr4_rom_outp.add(gdstk.Reference(c_weights_l2_wpr4_contact______, (1.445,12.365)))
weights_l2_wpr4_rom_outp.add(gdstk.Reference(c_weights_l2_wpr4_contact_____, (1.485,12.345)))
weights_l2_wpr4_rom_outp.add(gdstk.Reference(c_weights_l2_wpr4_contact____, (6.025,13.905)))
weights_l2_wpr4_rom_outp.add(gdstk.Reference(c_weights_l2_wpr4_contact_____, (6.065,13.885)))
weights_l2_wpr4_rom_outp.add(gdstk.Reference(c_weights_l2_wpr4_contact______, (1.445,13.905)))
weights_l2_wpr4_rom_outp.add(gdstk.Reference(c_weights_l2_wpr4_contact_____, (1.485,13.885)))
weights_l2_wpr4_rom_outp.add(gdstk.Reference(c_weights_l2_wpr4_contact____, (6.025,15.445)))
weights_l2_wpr4_rom_outp.add(gdstk.Reference(c_weights_l2_wpr4_contact_____, (6.065,15.425)))
weights_l2_wpr4_rom_outp.add(gdstk.Reference(c_weights_l2_wpr4_contact______, (1.445,15.445)))
weights_l2_wpr4_rom_outp.add(gdstk.Reference(c_weights_l2_wpr4_contact_____, (1.485,15.425)))
weights_l2_wpr4_rom_outp.add(gdstk.Reference(c_weights_l2_wpr4_contact____, (6.025,16.985)))
weights_l2_wpr4_rom_outp.add(gdstk.Reference(c_weights_l2_wpr4_contact_____, (6.065,16.965)))
weights_l2_wpr4_rom_outp.add(gdstk.Reference(c_weights_l2_wpr4_contact______, (1.445,16.985)))
weights_l2_wpr4_rom_outp.add(gdstk.Reference(c_weights_l2_wpr4_contact_____, (1.485,16.965)))
weights_l2_wpr4_rom_outp.add(gdstk.Reference(c_weights_l2_wpr4_contact____, (6.025,18.525)))
weights_l2_wpr4_rom_outp.add(gdstk.Reference(c_weights_l2_wpr4_contact_____, (6.065,18.505)))
weights_l2_wpr4_rom_outp.add(gdstk.Reference(c_weights_l2_wpr4_contact______, (1.445,18.525)))
weights_l2_wpr4_rom_outp.add(gdstk.Reference(c_weights_l2_wpr4_contact_____, (1.485,18.505)))
weights_l2_wpr4_rom_outp.add(gdstk.Reference(c_weights_l2_wpr4_contact____, (6.025,20.065)))
weights_l2_wpr4_rom_outp.add(gdstk.Reference(c_weights_l2_wpr4_contact_____, (6.065,20.045)))
weights_l2_wpr4_rom_outp.add(gdstk.Reference(c_weights_l2_wpr4_contact______, (1.445,20.065)))
weights_l2_wpr4_rom_outp.add(gdstk.Reference(c_weights_l2_wpr4_contact_____, (1.485,20.045)))
weights_l2_wpr4_rom_outp.add(gdstk.Reference(c_weights_l2_wpr4_contact____, (6.025,21.605)))
weights_l2_wpr4_rom_outp.add(gdstk.Reference(c_weights_l2_wpr4_contact_____, (6.065,21.585)))
weights_l2_wpr4_rom_outp.add(gdstk.Reference(c_weights_l2_wpr4_contact______, (1.445,21.605)))
weights_l2_wpr4_rom_outp.add(gdstk.Reference(c_weights_l2_wpr4_contact_____, (1.485,21.585)))
weights_l2_wpr4_rom_outp.add(gdstk.Reference(c_weights_l2_wpr4_contact____, (6.025,23.145)))
weights_l2_wpr4_rom_outp.add(gdstk.Reference(c_weights_l2_wpr4_contact_____, (6.065,23.125)))
weights_l2_wpr4_rom_outp.add(gdstk.Reference(c_weights_l2_wpr4_contact______, (1.445,23.145)))
weights_l2_wpr4_rom_outp.add(gdstk.Reference(c_weights_l2_wpr4_contact_____, (1.485,23.125)))
weights_l2_wpr4_rom_outp.add(gdstk.Reference(c_weights_l2_wpr4_contact____, (6.025,24.685)))
weights_l2_wpr4_rom_outp.add(gdstk.Reference(c_weights_l2_wpr4_contact_____, (6.065,24.665)))
weights_l2_wpr4_rom_outp.add(gdstk.Reference(c_weights_l2_wpr4_contact______, (1.445,24.685)))
weights_l2_wpr4_rom_outp.add(gdstk.Reference(c_weights_l2_wpr4_contact_____, (1.485,24.665)))
weights_l2_wpr4_rom_outp.add(gdstk.Reference(c_weights_l2_wpr4_contact____, (6.025,26.225)))
weights_l2_wpr4_rom_outp.add(gdstk.Reference(c_weights_l2_wpr4_contact_____, (6.065,26.205)))
weights_l2_wpr4_rom_outp.add(gdstk.Reference(c_weights_l2_wpr4_contact______, (1.445,26.225)))
weights_l2_wpr4_rom_outp.add(gdstk.Reference(c_weights_l2_wpr4_contact_____, (1.485,26.205)))
weights_l2_wpr4_rom_outp.add(gdstk.Reference(c_weights_l2_wpr4_contact____, (6.025,27.765)))
weights_l2_wpr4_rom_outp.add(gdstk.Reference(c_weights_l2_wpr4_contact_____, (6.065,27.745)))
weights_l2_wpr4_rom_outp.add(gdstk.Reference(c_weights_l2_wpr4_contact______, (1.445,27.765)))
weights_l2_wpr4_rom_outp.add(gdstk.Reference(c_weights_l2_wpr4_contact_____, (1.485,27.745)))
weights_l2_wpr4_rom_outp.add(gdstk.Reference(c_weights_l2_wpr4_contact____, (6.025,29.305)))
weights_l2_wpr4_rom_outp.add(gdstk.Reference(c_weights_l2_wpr4_contact_____, (6.065,29.285)))
weights_l2_wpr4_rom_outp.add(gdstk.Reference(c_weights_l2_wpr4_contact______, (1.445,29.305)))
weights_l2_wpr4_rom_outp.add(gdstk.Reference(c_weights_l2_wpr4_contact_____, (1.485,29.285)))
weights_l2_wpr4_rom_outp.add(gdstk.Reference(c_weights_l2_wpr4_contact____, (6.025,30.845)))
weights_l2_wpr4_rom_outp.add(gdstk.Reference(c_weights_l2_wpr4_contact_____, (6.065,30.825)))
weights_l2_wpr4_rom_outp.add(gdstk.Reference(c_weights_l2_wpr4_contact______, (1.445,30.845)))
weights_l2_wpr4_rom_outp.add(gdstk.Reference(c_weights_l2_wpr4_contact_____, (1.485,30.825)))
weights_l2_wpr4_rom_outp.add(gdstk.Reference(c_weights_l2_wpr4_contact____, (6.025,32.385)))
weights_l2_wpr4_rom_outp.add(gdstk.Reference(c_weights_l2_wpr4_contact_____, (6.065,32.365)))
weights_l2_wpr4_rom_outp.add(gdstk.Reference(c_weights_l2_wpr4_contact______, (1.445,32.385)))
weights_l2_wpr4_rom_outp.add(gdstk.Reference(c_weights_l2_wpr4_contact_____, (1.485,32.365)))
weights_l2_wpr4_rom_outp.add(gdstk.Reference(c_weights_l2_wpr4_contact____, (6.025,33.925)))
weights_l2_wpr4_rom_outp.add(gdstk.Reference(c_weights_l2_wpr4_contact_____, (6.065,33.905)))
weights_l2_wpr4_rom_outp.add(gdstk.Reference(c_weights_l2_wpr4_contact______, (1.445,33.925)))
weights_l2_wpr4_rom_outp.add(gdstk.Reference(c_weights_l2_wpr4_contact_____, (1.485,33.905)))
weights_l2_wpr4_rom_outp.add(gdstk.Reference(c_weights_l2_wpr4_contact____, (6.025,35.465)))
weights_l2_wpr4_rom_outp.add(gdstk.Reference(c_weights_l2_wpr4_contact_____, (6.065,35.445)))
weights_l2_wpr4_rom_outp.add(gdstk.Reference(c_weights_l2_wpr4_contact______, (1.445,35.465)))
weights_l2_wpr4_rom_outp.add(gdstk.Reference(c_weights_l2_wpr4_contact_____, (1.485,35.445)))
weights_l2_wpr4_rom_outp.add(gdstk.Reference(c_weights_l2_wpr4_contact____, (6.025,37.005)))
weights_l2_wpr4_rom_outp.add(gdstk.Reference(c_weights_l2_wpr4_contact_____, (6.065,36.985)))
weights_l2_wpr4_rom_outp.add(gdstk.Reference(c_weights_l2_wpr4_contact______, (1.445,37.005)))
weights_l2_wpr4_rom_outp.add(gdstk.Reference(c_weights_l2_wpr4_contact_____, (1.485,36.985)))
weights_l2_wpr4_rom_outp.add(gdstk.Reference(c_weights_l2_wpr4_contact____, (6.025,38.545)))
weights_l2_wpr4_rom_outp.add(gdstk.Reference(c_weights_l2_wpr4_contact_____, (6.065,38.525)))
weights_l2_wpr4_rom_outp.add(gdstk.Reference(c_weights_l2_wpr4_contact______, (1.445,38.545)))
weights_l2_wpr4_rom_outp.add(gdstk.Reference(c_weights_l2_wpr4_contact_____, (1.485,38.525)))
weights_l2_wpr4_rom_outp.add(gdstk.Reference(c_weights_l2_wpr4_contact____, (6.025,40.085)))
weights_l2_wpr4_rom_outp.add(gdstk.Reference(c_weights_l2_wpr4_contact_____, (6.065,40.065)))
weights_l2_wpr4_rom_outp.add(gdstk.Reference(c_weights_l2_wpr4_contact______, (1.445,40.085)))
weights_l2_wpr4_rom_outp.add(gdstk.Reference(c_weights_l2_wpr4_contact_____, (1.485,40.065)))
weights_l2_wpr4_rom_outp.add(gdstk.Reference(c_weights_l2_wpr4_contact____, (6.025,41.625)))
weights_l2_wpr4_rom_outp.add(gdstk.Reference(c_weights_l2_wpr4_contact_____, (6.065,41.605)))
weights_l2_wpr4_rom_outp.add(gdstk.Reference(c_weights_l2_wpr4_contact______, (1.445,41.625)))
weights_l2_wpr4_rom_outp.add(gdstk.Reference(c_weights_l2_wpr4_contact_____, (1.485,41.605)))
weights_l2_wpr4_rom_outp.add(gdstk.Reference(c_weights_l2_wpr4_contact____, (6.025,43.165)))
weights_l2_wpr4_rom_outp.add(gdstk.Reference(c_weights_l2_wpr4_contact_____, (6.065,43.145)))
weights_l2_wpr4_rom_outp.add(gdstk.Reference(c_weights_l2_wpr4_contact______, (1.445,43.165)))
weights_l2_wpr4_rom_outp.add(gdstk.Reference(c_weights_l2_wpr4_contact_____, (1.485,43.145)))
weights_l2_wpr4_rom_outp.add(gdstk.Reference(c_weights_l2_wpr4_contact____, (6.025,44.705)))
weights_l2_wpr4_rom_outp.add(gdstk.Reference(c_weights_l2_wpr4_contact_____, (6.065,44.685)))
weights_l2_wpr4_rom_outp.add(gdstk.Reference(c_weights_l2_wpr4_contact______, (1.445,44.705)))
weights_l2_wpr4_rom_outp.add(gdstk.Reference(c_weights_l2_wpr4_contact_____, (1.485,44.685)))
weights_l2_wpr4_rom_outp.add(gdstk.Reference(c_weights_l2_wpr4_contact____, (6.025,46.245)))
weights_l2_wpr4_rom_outp.add(gdstk.Reference(c_weights_l2_wpr4_contact_____, (6.065,46.225)))
weights_l2_wpr4_rom_outp.add(gdstk.Reference(c_weights_l2_wpr4_contact______, (1.445,46.245)))
weights_l2_wpr4_rom_outp.add(gdstk.Reference(c_weights_l2_wpr4_contact_____, (1.485,46.225)))
weights_l2_wpr4_rom_outp.add(gdstk.Reference(c_weights_l2_wpr4_contact____, (6.025,47.785)))
weights_l2_wpr4_rom_outp.add(gdstk.Reference(c_weights_l2_wpr4_contact_____, (6.065,47.765)))
weights_l2_wpr4_rom_outp.add(gdstk.Reference(c_weights_l2_wpr4_contact______, (1.445,47.785)))
weights_l2_wpr4_rom_outp.add(gdstk.Reference(c_weights_l2_wpr4_contact_____, (1.485,47.765)))
weights_l2_wpr4_rom_outp.add(gdstk.Reference(c_weights_l2_wpr4_contact____, (6.025,49.325)))
weights_l2_wpr4_rom_outp.add(gdstk.Reference(c_weights_l2_wpr4_contact_____, (6.065,49.305)))
weights_l2_wpr4_rom_outp.add(gdstk.Reference(c_weights_l2_wpr4_contact______, (1.445,49.325)))
weights_l2_wpr4_rom_outp.add(gdstk.Reference(c_weights_l2_wpr4_contact_____, (1.485,49.305)))
weights_l2_wpr4_rom_outp.add(gdstk.Reference(c_weights_l2_wpr4_contact____, (6.025,50.865)))
weights_l2_wpr4_rom_outp.add(gdstk.Reference(c_weights_l2_wpr4_contact_____, (6.065,50.845)))
weights_l2_wpr4_rom_outp.add(gdstk.Reference(c_weights_l2_wpr4_contact______, (1.445,50.865)))
weights_l2_wpr4_rom_outp.add(gdstk.Reference(c_weights_l2_wpr4_contact_____, (1.485,50.845)))
weights_l2_wpr4_rom_outp.add(gdstk.Reference(c_weights_l2_wpr4_contact____, (6.025,52.405)))
weights_l2_wpr4_rom_outp.add(gdstk.Reference(c_weights_l2_wpr4_contact_____, (6.065,52.385)))
weights_l2_wpr4_rom_outp.add(gdstk.Reference(c_weights_l2_wpr4_contact______, (1.445,52.405)))
weights_l2_wpr4_rom_outp.add(gdstk.Reference(c_weights_l2_wpr4_contact_____, (1.485,52.385)))
weights_l2_wpr4_rom_outp.add(gdstk.Reference(c_weights_l2_wpr4_contact____, (6.025,53.945)))
weights_l2_wpr4_rom_outp.add(gdstk.Reference(c_weights_l2_wpr4_contact_____, (6.065,53.925)))
weights_l2_wpr4_rom_outp.add(gdstk.Reference(c_weights_l2_wpr4_contact______, (1.445,53.945)))
weights_l2_wpr4_rom_outp.add(gdstk.Reference(c_weights_l2_wpr4_contact_____, (1.485,53.925)))
weights_l2_wpr4_rom_outp.add(gdstk.Reference(c_weights_l2_wpr4_contact____, (6.025,55.485)))
weights_l2_wpr4_rom_outp.add(gdstk.Reference(c_weights_l2_wpr4_contact_____, (6.065,55.465)))
weights_l2_wpr4_rom_outp.add(gdstk.Reference(c_weights_l2_wpr4_contact______, (1.445,55.485)))
weights_l2_wpr4_rom_outp.add(gdstk.Reference(c_weights_l2_wpr4_contact_____, (1.485,55.465)))
weights_l2_wpr4_rom_outp.add(gdstk.Reference(c_weights_l2_wpr4_contact____, (6.025,57.025)))
weights_l2_wpr4_rom_outp.add(gdstk.Reference(c_weights_l2_wpr4_contact_____, (6.065,57.005)))
weights_l2_wpr4_rom_outp.add(gdstk.Reference(c_weights_l2_wpr4_contact______, (1.445,57.025)))
weights_l2_wpr4_rom_outp.add(gdstk.Reference(c_weights_l2_wpr4_contact_____, (1.485,57.005)))
weights_l2_wpr4_rom_outp.add(gdstk.Reference(c_weights_l2_wpr4_contact____, (6.025,58.565)))
weights_l2_wpr4_rom_outp.add(gdstk.Reference(c_weights_l2_wpr4_contact_____, (6.065,58.545)))
weights_l2_wpr4_rom_outp.add(gdstk.Reference(c_weights_l2_wpr4_contact______, (1.445,58.565)))
weights_l2_wpr4_rom_outp.add(gdstk.Reference(c_weights_l2_wpr4_contact_____, (1.485,58.545)))
weights_l2_wpr4_rom_outp.add(gdstk.Reference(c_weights_l2_wpr4_contact____, (6.025,60.105)))
weights_l2_wpr4_rom_outp.add(gdstk.Reference(c_weights_l2_wpr4_contact_____, (6.065,60.085)))
weights_l2_wpr4_rom_outp.add(gdstk.Reference(c_weights_l2_wpr4_contact______, (1.445,60.105)))
weights_l2_wpr4_rom_outp.add(gdstk.Reference(c_weights_l2_wpr4_contact_____, (1.485,60.085)))
weights_l2_wpr4_rom_outp.add(gdstk.Label('in_0', (0.385,0.94), layer=67, texttype=5))
weights_l2_wpr4_rom_outp.add(gdstk.Label('out_0', (8.825,0.94), layer=67, texttype=5))
weights_l2_wpr4_rom_outp.add(gdstk.Label('in_1', (0.385,2.48), layer=67, texttype=5))
weights_l2_wpr4_rom_outp.add(gdstk.Label('out_1', (8.825,2.48), layer=67, texttype=5))
weights_l2_wpr4_rom_outp.add(gdstk.Label('in_2', (0.385,4.02), layer=67, texttype=5))
weights_l2_wpr4_rom_outp.add(gdstk.Label('out_2', (8.825,4.02), layer=67, texttype=5))
weights_l2_wpr4_rom_outp.add(gdstk.Label('in_3', (0.385,5.56), layer=67, texttype=5))
weights_l2_wpr4_rom_outp.add(gdstk.Label('out_3', (8.825,5.56), layer=67, texttype=5))
weights_l2_wpr4_rom_outp.add(gdstk.Label('in_4', (0.385,7.1), layer=67, texttype=5))
weights_l2_wpr4_rom_outp.add(gdstk.Label('out_4', (8.825,7.1), layer=67, texttype=5))
weights_l2_wpr4_rom_outp.add(gdstk.Label('in_5', (0.385,8.64), layer=67, texttype=5))
weights_l2_wpr4_rom_outp.add(gdstk.Label('out_5', (8.825,8.64), layer=67, texttype=5))
weights_l2_wpr4_rom_outp.add(gdstk.Label('in_6', (0.385,10.18), layer=67, texttype=5))
weights_l2_wpr4_rom_outp.add(gdstk.Label('out_6', (8.825,10.18), layer=67, texttype=5))
weights_l2_wpr4_rom_outp.add(gdstk.Label('in_7', (0.385,11.72), layer=67, texttype=5))
weights_l2_wpr4_rom_outp.add(gdstk.Label('out_7', (8.825,11.72), layer=67, texttype=5))
weights_l2_wpr4_rom_outp.add(gdstk.Label('in_8', (0.385,13.26), layer=67, texttype=5))
weights_l2_wpr4_rom_outp.add(gdstk.Label('out_8', (8.825,13.26), layer=67, texttype=5))
weights_l2_wpr4_rom_outp.add(gdstk.Label('in_9', (0.385,14.8), layer=67, texttype=5))
weights_l2_wpr4_rom_outp.add(gdstk.Label('out_9', (8.825,14.8), layer=67, texttype=5))
weights_l2_wpr4_rom_outp.add(gdstk.Label('in_10', (0.385,16.34), layer=67, texttype=5))
weights_l2_wpr4_rom_outp.add(gdstk.Label('out_10', (8.825,16.34), layer=67, texttype=5))
weights_l2_wpr4_rom_outp.add(gdstk.Label('in_11', (0.385,17.88), layer=67, texttype=5))
weights_l2_wpr4_rom_outp.add(gdstk.Label('out_11', (8.825,17.88), layer=67, texttype=5))
weights_l2_wpr4_rom_outp.add(gdstk.Label('in_12', (0.385,19.42), layer=67, texttype=5))
weights_l2_wpr4_rom_outp.add(gdstk.Label('out_12', (8.825,19.42), layer=67, texttype=5))
weights_l2_wpr4_rom_outp.add(gdstk.Label('in_13', (0.385,20.96), layer=67, texttype=5))
weights_l2_wpr4_rom_outp.add(gdstk.Label('out_13', (8.825,20.96), layer=67, texttype=5))
weights_l2_wpr4_rom_outp.add(gdstk.Label('in_14', (0.385,22.5), layer=67, texttype=5))
weights_l2_wpr4_rom_outp.add(gdstk.Label('out_14', (8.825,22.5), layer=67, texttype=5))
weights_l2_wpr4_rom_outp.add(gdstk.Label('in_15', (0.385,24.04), layer=67, texttype=5))
weights_l2_wpr4_rom_outp.add(gdstk.Label('out_15', (8.825,24.04), layer=67, texttype=5))
weights_l2_wpr4_rom_outp.add(gdstk.Label('in_16', (0.385,25.58), layer=67, texttype=5))
weights_l2_wpr4_rom_outp.add(gdstk.Label('out_16', (8.825,25.58), layer=67, texttype=5))
weights_l2_wpr4_rom_outp.add(gdstk.Label('in_17', (0.385,27.12), layer=67, texttype=5))
weights_l2_wpr4_rom_outp.add(gdstk.Label('out_17', (8.825,27.12), layer=67, texttype=5))
weights_l2_wpr4_rom_outp.add(gdstk.Label('in_18', (0.385,28.66), layer=67, texttype=5))
weights_l2_wpr4_rom_outp.add(gdstk.Label('out_18', (8.825,28.66), layer=67, texttype=5))
weights_l2_wpr4_rom_outp.add(gdstk.Label('in_19', (0.385,30.2), layer=67, texttype=5))
weights_l2_wpr4_rom_outp.add(gdstk.Label('out_19', (8.825,30.2), layer=67, texttype=5))
weights_l2_wpr4_rom_outp.add(gdstk.Label('in_20', (0.385,31.74), layer=67, texttype=5))
weights_l2_wpr4_rom_outp.add(gdstk.Label('out_20', (8.825,31.74), layer=67, texttype=5))
weights_l2_wpr4_rom_outp.add(gdstk.Label('in_21', (0.385,33.28), layer=67, texttype=5))
weights_l2_wpr4_rom_outp.add(gdstk.Label('out_21', (8.825,33.28), layer=67, texttype=5))
weights_l2_wpr4_rom_outp.add(gdstk.Label('in_22', (0.385,34.82), layer=67, texttype=5))
weights_l2_wpr4_rom_outp.add(gdstk.Label('out_22', (8.825,34.82), layer=67, texttype=5))
weights_l2_wpr4_rom_outp.add(gdstk.Label('in_23', (0.385,36.36), layer=67, texttype=5))
weights_l2_wpr4_rom_outp.add(gdstk.Label('out_23', (8.825,36.36), layer=67, texttype=5))
weights_l2_wpr4_rom_outp.add(gdstk.Label('in_24', (0.385,37.9), layer=67, texttype=5))
weights_l2_wpr4_rom_outp.add(gdstk.Label('out_24', (8.825,37.9), layer=67, texttype=5))
weights_l2_wpr4_rom_outp.add(gdstk.Label('in_25', (0.385,39.44), layer=67, texttype=5))
weights_l2_wpr4_rom_outp.add(gdstk.Label('out_25', (8.825,39.44), layer=67, texttype=5))
weights_l2_wpr4_rom_outp.add(gdstk.Label('in_26', (0.385,40.98), layer=67, texttype=5))
weights_l2_wpr4_rom_outp.add(gdstk.Label('out_26', (8.825,40.98), layer=67, texttype=5))
weights_l2_wpr4_rom_outp.add(gdstk.Label('in_27', (0.385,42.52), layer=67, texttype=5))
weights_l2_wpr4_rom_outp.add(gdstk.Label('out_27', (8.825,42.52), layer=67, texttype=5))
weights_l2_wpr4_rom_outp.add(gdstk.Label('in_28', (0.385,44.06), layer=67, texttype=5))
weights_l2_wpr4_rom_outp.add(gdstk.Label('out_28', (8.825,44.06), layer=67, texttype=5))
weights_l2_wpr4_rom_outp.add(gdstk.Label('in_29', (0.385,45.6), layer=67, texttype=5))
weights_l2_wpr4_rom_outp.add(gdstk.Label('out_29', (8.825,45.6), layer=67, texttype=5))
weights_l2_wpr4_rom_outp.add(gdstk.Label('in_30', (0.385,47.14), layer=67, texttype=5))
weights_l2_wpr4_rom_outp.add(gdstk.Label('out_30', (8.825,47.14), layer=67, texttype=5))
weights_l2_wpr4_rom_outp.add(gdstk.Label('in_31', (0.385,48.68), layer=67, texttype=5))
weights_l2_wpr4_rom_outp.add(gdstk.Label('out_31', (8.825,48.68), layer=67, texttype=5))
weights_l2_wpr4_rom_outp.add(gdstk.Label('in_32', (0.385,50.22), layer=67, texttype=5))
weights_l2_wpr4_rom_outp.add(gdstk.Label('out_32', (8.825,50.22), layer=67, texttype=5))
weights_l2_wpr4_rom_outp.add(gdstk.Label('in_33', (0.385,51.76), layer=67, texttype=5))
weights_l2_wpr4_rom_outp.add(gdstk.Label('out_33', (8.825,51.76), layer=67, texttype=5))
weights_l2_wpr4_rom_outp.add(gdstk.Label('in_34', (0.385,53.3), layer=67, texttype=5))
weights_l2_wpr4_rom_outp.add(gdstk.Label('out_34', (8.825,53.3), layer=67, texttype=5))
weights_l2_wpr4_rom_outp.add(gdstk.Label('in_35', (0.385,54.84), layer=67, texttype=5))
weights_l2_wpr4_rom_outp.add(gdstk.Label('out_35', (8.825,54.84), layer=67, texttype=5))
weights_l2_wpr4_rom_outp.add(gdstk.Label('in_36', (0.385,56.38), layer=67, texttype=5))
weights_l2_wpr4_rom_outp.add(gdstk.Label('out_36', (8.825,56.38), layer=67, texttype=5))
weights_l2_wpr4_rom_outp.add(gdstk.Label('in_37', (0.385,57.92), layer=67, texttype=5))
weights_l2_wpr4_rom_outp.add(gdstk.Label('out_37', (8.825,57.92), layer=67, texttype=5))
weights_l2_wpr4_rom_outp.add(gdstk.Label('in_38', (0.385,59.46), layer=67, texttype=5))
weights_l2_wpr4_rom_outp.add(gdstk.Label('out_38', (8.825,59.46), layer=67, texttype=5))
weights_l2_wpr4_rom_outp.add(gdstk.Label('in_39', (0.385,61), layer=67, texttype=5))
weights_l2_wpr4_rom_outp.add(gdstk.Label('out_39', (8.825,61), layer=67, texttype=5))
weights_l2_wpr4_rom_outp.add(gdstk.Label('gnd', (1.65,61.6), layer=68, texttype=5))
weights_l2_wpr4_rom_outp.add(gdstk.Label('gnd', (1.65,0.1), layer=68, texttype=5))
weights_l2_wpr4_rom_outp.add(gdstk.Label('vdd', (6.23,0.1), layer=68, texttype=5))
weights_l2_wpr4_rom_outp.add(gdstk.Label('vdd', (6.23,61.6), layer=68, texttype=5))

lib.write_gds('weights_l2_wpr4_rom_output_buffer.gds')
